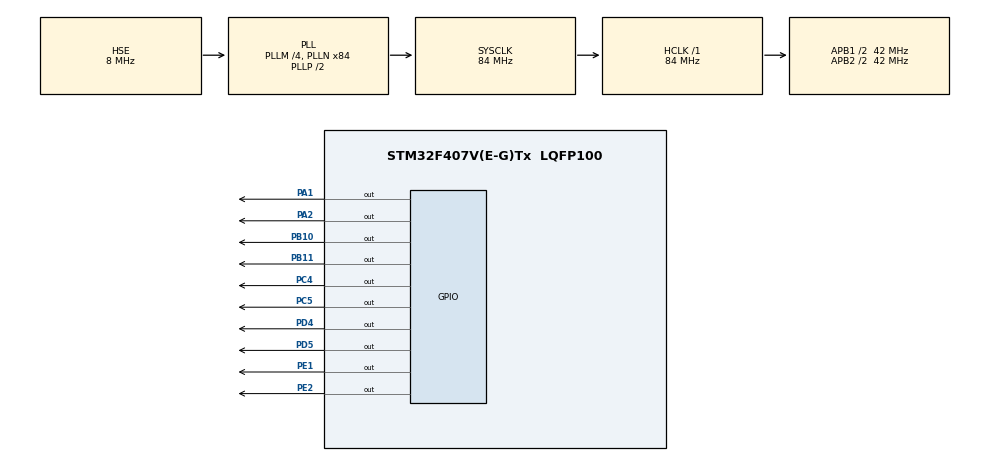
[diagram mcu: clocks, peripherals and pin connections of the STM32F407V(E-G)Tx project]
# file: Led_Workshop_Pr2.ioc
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Mcu.Family=STM32F4
Mcu.Name=STM32F407V(E-G)Tx
Mcu.Package=LQFP100
NVIC.PriorityGroup=NVIC_PRIORITYGROUP_0
PA1.Signal=GPIO_Output
PA13.Mode=Serial_Wire
PA13.Signal=SYS_JTMS-SWDIO
PA14.Mode=Serial_Wire
PA14.Signal=SYS_JTCK-SWCLK
PA2.Signal=GPIO_Output
PB10.Signal=GPIO_Output
PB11.Signal=GPIO_Output
PC4.Signal=GPIO_Output
PC5.Signal=GPIO_Output
PD4.Signal=GPIO_Output
PD5.Signal=GPIO_Output
PE1.Signal=GPIO_Output
PE2.Signal=GPIO_Output
PH0-OSC_IN.Mode=HSE-External-Oscillator
PH0-OSC_IN.Signal=RCC_OSC_IN
PH1-OSC_OUT.Mode=HSE-External-Oscillator
PH1-OSC_OUT.Signal=RCC_OSC_OUT
ProjectManager.HeapSize=0x200
ProjectManager.StackSize=0x400
ProjectManager.TargetToolchain=STM32CubeIDE
RCC.48MHZClocksFreq_Value=24000000
RCC.AHBFreq_Value=84000000
RCC.APB1CLKDivider=RCC_HCLK_DIV2
RCC.APB1Freq_Value=42000000
RCC.APB1TimFreq_Value=84000000
RCC.APB2CLKDivider=RCC_HCLK_DIV2
RCC.APB2Freq_Value=42000000
RCC.APB2TimFreq_Value=84000000
RCC.CortexFreq_Value=84000000
RCC.HCLKFreq_Value=84000000
RCC.HSE_VALUE=8000000
RCC.HSI_VALUE=16000000
RCC.PLLM=4
RCC.PLLN=84
RCC.PLLQ=7
RCC.PLLSourceVirtual=RCC_PLLSOURCE_HSE
RCC.SYSCLKFreq_VALUE=84000000
RCC.SYSCLKSource=RCC_SYSCLKSOURCE_PLLCLK
RCC.VCOOutputFreq_Value=168000000
board=STM32F407G-DISC1

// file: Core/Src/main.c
/* USER CODE BEGIN Header */
/**
  ******************************************************************************
  * @file           : main.c
  * @brief          : Main program body
  ******************************************************************************
  * @attention
  *
  * Copyright (c) 2026 STMicroelectronics.
  * All rights reserved.
  *
  * This software is licensed under terms that can be found in the LICENSE file
  * in the root directory of this software component.
  * If no LICENSE file comes with this software, it is provided AS-IS.
  *
  ******************************************************************************
  */
/* USER CODE END Header */
#include "main.h"

void SystemClock_Config(void);
static void MX_GPIO_Init(void);

int main(void)
{

  /* MCU Configuration--------------------------------------------------------*/

  /* Reset of all peripherals, Initializes the Flash interface and the Systick. */
  HAL_Init();

  /* Configure the system clock */
  SystemClock_Config();

  /* Initialize all configured peripherals */
  MX_GPIO_Init();

  /* Infinite loop */
  /* USER CODE BEGIN WHILE */
  while (1)
  {
	HAL_GPIO_WritePin(GPIOA, GPIO_PIN_1, SET);
	HAL_Delay(100);
	HAL_GPIO_WritePin(GPIOA, GPIO_PIN_1, RESET);
	HAL_Delay(100);
	HAL_GPIO_WritePin(GPIOA, GPIO_PIN_2, SET);
	HAL_Delay(100);
	HAL_GPIO_WritePin(GPIOA, GPIO_PIN_2, RESET);
	HAL_Delay(100);
		HAL_GPIO_WritePin(GPIOC, GPIO_PIN_4, SET);
		HAL_Delay(100);
		HAL_GPIO_WritePin(GPIOC, GPIO_PIN_4, RESET);
		HAL_Delay(100);
		HAL_GPIO_WritePin(GPIOC, GPIO_PIN_5, SET);
		HAL_Delay(100);
		HAL_GPIO_WritePin(GPIOC, GPIO_PIN_5, RESET);
		HAL_Delay(100);
		        HAL_GPIO_WritePin(GPIOB, GPIO_PIN_10, SET);
				HAL_Delay(100);
				HAL_GPIO_WritePin(GPIOB, GPIO_PIN_10, RESET);
				HAL_Delay(100);
				HAL_GPIO_WritePin(GPIOB, GPIO_PIN_11, SET);
				HAL_Delay(100);
				HAL_GPIO_WritePin(GPIOB, GPIO_PIN_11, RESET);
				HAL_Delay(100);
					HAL_GPIO_WritePin(GPIOD, GPIO_PIN_4, SET);
					HAL_Delay(100);
					HAL_GPIO_WritePin(GPIOD, GPIO_PIN_4, RESET);
					HAL_Delay(100);
					HAL_GPIO_WritePin(GPIOD, GPIO_PIN_5, SET);
					HAL_Delay(100);
					HAL_GPIO_WritePin(GPIOD, GPIO_PIN_5, RESET);
					HAL_Delay(100);
						HAL_GPIO_WritePin(GPIOE, GPIO_PIN_1, SET);
						HAL_Delay(100);
						HAL_GPIO_WritePin(GPIOE, GPIO_PIN_1, RESET);
						HAL_Delay(100);
						HAL_GPIO_WritePin(GPIOE, GPIO_PIN_2, SET);
						HAL_Delay(100);
						HAL_GPIO_WritePin(GPIOE, GPIO_PIN_2, RESET);
						HAL_Delay(100);

    /* USER CODE END WHILE */

  }
}

void SystemClock_Config(void)
{
  RCC_OscInitTypeDef RCC_OscInitStruct = {0};
  RCC_ClkInitTypeDef RCC_ClkInitStruct = {0};

  /** Configure the main internal regulator output voltage
  */
  __HAL_RCC_PWR_CLK_ENABLE();
  __HAL_PWR_VOLTAGESCALING_CONFIG(PWR_REGULATOR_VOLTAGE_SCALE1);

  /** Initializes the RCC Oscillators according to the specified parameters
  * in the RCC_OscInitTypeDef structure.
  */
  RCC_OscInitStruct.OscillatorType = RCC_OSCILLATORTYPE_HSE;
  RCC_OscInitStruct.HSEState = RCC_HSE_ON;
  RCC_OscInitStruct.PLL.PLLState = RCC_PLL_ON;
  RCC_OscInitStruct.PLL.PLLSource = RCC_PLLSOURCE_HSE;
  RCC_OscInitStruct.PLL.PLLM = 4;
  RCC_OscInitStruct.PLL.PLLN = 84;
  RCC_OscInitStruct.PLL.PLLP = RCC_PLLP_DIV2;
  RCC_OscInitStruct.PLL.PLLQ = 7;
  if (HAL_RCC_OscConfig(&RCC_OscInitStruct) != HAL_OK)
  {
    Error_Handler();
  }

  /** Initializes the CPU, AHB and APB buses clocks
  */
  RCC_ClkInitStruct.ClockType = RCC_CLOCKTYPE_HCLK|RCC_CLOCKTYPE_SYSCLK
                              |RCC_CLOCKTYPE_PCLK1|RCC_CLOCKTYPE_PCLK2;
  RCC_ClkInitStruct.SYSCLKSource = RCC_SYSCLKSOURCE_PLLCLK;
  RCC_ClkInitStruct.AHBCLKDivider = RCC_SYSCLK_DIV1;
  RCC_ClkInitStruct.APB1CLKDivider = RCC_HCLK_DIV2;
  RCC_ClkInitStruct.APB2CLKDivider = RCC_HCLK_DIV2;

  if (HAL_RCC_ClockConfig(&RCC_ClkInitStruct, FLASH_LATENCY_2) != HAL_OK)
  {
    Error_Handler();
  }
}

static void MX_GPIO_Init(void)
{
  GPIO_InitTypeDef GPIO_InitStruct = {0};

  /* GPIO Ports Clock Enable */
  __HAL_RCC_GPIOE_CLK_ENABLE();
  __HAL_RCC_GPIOH_CLK_ENABLE();
  __HAL_RCC_GPIOA_CLK_ENABLE();
  __HAL_RCC_GPIOC_CLK_ENABLE();
  __HAL_RCC_GPIOB_CLK_ENABLE();
  __HAL_RCC_GPIOD_CLK_ENABLE();

  /*Configure GPIO pin Output Level */
  HAL_GPIO_WritePin(GPIOE, GPIO_PIN_2|GPIO_PIN_1, GPIO_PIN_RESET);

  /*Configure GPIO pin Output Level */
  HAL_GPIO_WritePin(GPIOA, GPIO_PIN_1|GPIO_PIN_2, GPIO_PIN_RESET);

  /*Configure GPIO pin Output Level */
  HAL_GPIO_WritePin(GPIOC, GPIO_PIN_4|GPIO_PIN_5, GPIO_PIN_RESET);

  /*Configure GPIO pin Output Level */
  HAL_GPIO_WritePin(GPIOB, GPIO_PIN_10|GPIO_PIN_11, GPIO_PIN_RESET);

  /*Configure GPIO pin Output Level */
  HAL_GPIO_WritePin(GPIOD, GPIO_PIN_4|GPIO_PIN_5, GPIO_PIN_RESET);

  /*Configure GPIO pins : PE2 PE1 */
  GPIO_InitStruct.Pin = GPIO_PIN_2|GPIO_PIN_1;
  GPIO_InitStruct.Mode = GPIO_MODE_OUTPUT_PP;
  GPIO_InitStruct.Pull = GPIO_NOPULL;
  GPIO_InitStruct.Speed = GPIO_SPEED_FREQ_LOW;
  HAL_GPIO_Init(GPIOE, &GPIO_InitStruct);

  /*Configure GPIO pins : PA1 PA2 */
  GPIO_InitStruct.Pin = GPIO_PIN_1|GPIO_PIN_2;
  GPIO_InitStruct.Mode = GPIO_MODE_OUTPUT_PP;
  GPIO_InitStruct.Pull = GPIO_NOPULL;
  GPIO_InitStruct.Speed = GPIO_SPEED_FREQ_LOW;
  HAL_GPIO_Init(GPIOA, &GPIO_InitStruct);

  /*Configure GPIO pins : PC4 PC5 */
  GPIO_InitStruct.Pin = GPIO_PIN_4|GPIO_PIN_5;
  GPIO_InitStruct.Mode = GPIO_MODE_OUTPUT_PP;
  GPIO_InitStruct.Pull = GPIO_NOPULL;
  GPIO_InitStruct.Speed = GPIO_SPEED_FREQ_LOW;
  HAL_GPIO_Init(GPIOC, &GPIO_InitStruct);

  /*Configure GPIO pins : PB10 PB11 */
  GPIO_InitStruct.Pin = GPIO_PIN_10|GPIO_PIN_11;
  GPIO_InitStruct.Mode = GPIO_MODE_OUTPUT_PP;
  GPIO_InitStruct.Pull = GPIO_NOPULL;
  GPIO_InitStruct.Speed = GPIO_SPEED_FREQ_LOW;
  HAL_GPIO_Init(GPIOB, &GPIO_InitStruct);

  /*Configure GPIO pins : PD4 PD5 */
  GPIO_InitStruct.Pin = GPIO_PIN_4|GPIO_PIN_5;
  GPIO_InitStruct.Mode = GPIO_MODE_OUTPUT_PP;
  GPIO_InitStruct.Pull = GPIO_NOPULL;
  GPIO_InitStruct.Speed = GPIO_SPEED_FREQ_LOW;
  HAL_GPIO_Init(GPIOD, &GPIO_InitStruct);

}

void Error_Handler(void)
{
  __disable_irq();
  while (1)
  {
  }
}
